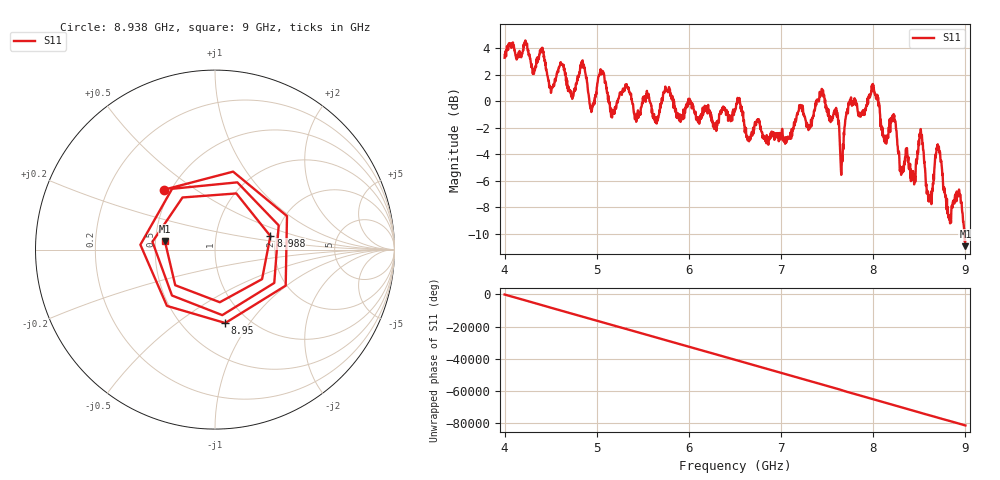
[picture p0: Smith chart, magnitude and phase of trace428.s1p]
! Created with skrf 1.8.0 (http://scikit-rf.org).
# Hz S RI R 50.0
!freq ReS11 ImS11
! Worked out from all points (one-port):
!   1601 points, 4 GHz to 9 GHz, reference 50 ohm
!   lowest |S11| = -11.0 dB at 9 GHz (marker M1), VSWR 1.79, Z = 28.1 + j2.89 ohm
!   |S11| at or under -10 dB: 8.98851 GHz to end of sweep
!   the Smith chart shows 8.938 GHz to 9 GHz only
!   S11 on the Smith chart (normalised r, x): 8.938 GHz: 0.46, +0.38; 8.95 GHz: 0.79, -0.77; 8.988 GHz: 1.86, +0.31; 9 GHz: 0.56, +0.06
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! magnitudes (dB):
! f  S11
! 4 GHz  3.3
! 4.625 GHz  2.8
! 4.728 GHz  0.3
! 4.847 GHz  3.1
! 4.944 GHz  -0.4
! 5.05 GHz  2.0
! 5.169 GHz  -0.7
! 5.25 GHz  0.7
! 5.875 GHz  -1.1
! 6.5 GHz  -0.7
! 7.125 GHz  -2.1
! 7.444 GHz  0.9
! 7.659 GHz  -4.5
! 7.75 GHz  0.1
! 8.003 GHz  0.9
! 8.125 GHz  -2.7
! 8.219 GHz  -1.2
! 8.306 GHz  -5.3
! 8.375 GHz  -4.5
! 8.434 GHz  -5.9
! 8.519 GHz  -2.4
! 8.612 GHz  -7.3
! 8.703 GHz  -3.4
! 8.819 GHz  -8.7
! 8.938 GHz  -7.2
! 8.95 GHz  -7.7
! 8.988 GHz  -10.0
! 9 GHz  -11.0
